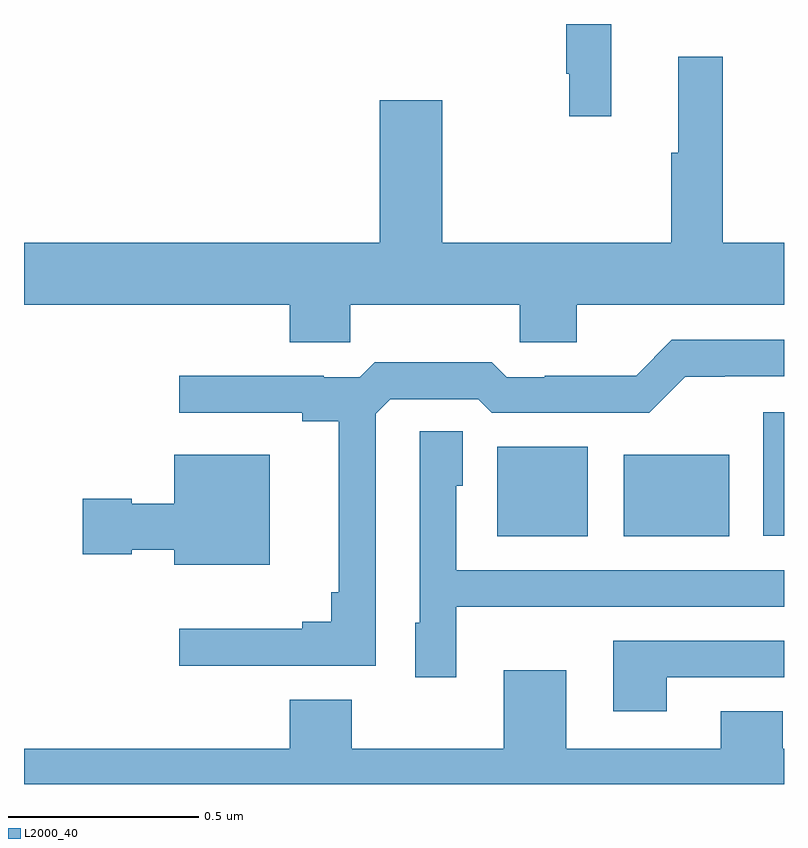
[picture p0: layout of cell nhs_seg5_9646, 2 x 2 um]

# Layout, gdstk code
import gdstk
lib = gdstk.Library(unit=1e-6, precision=1e-09)
def R(c, l, rs):  # rectangles x0, y0, x1, y1
    for r in rs: c.add(gdstk.rectangle(r[:2], r[2:], *l))
def P(c, l, *ps):  # polygons
    for p in ps: c.add(gdstk.Polygon(p, *l))
L2000_40 = (2000, 40)

nhs_seg5_9646 = lib.new_cell('nhs_seg5_9646')
R(nhs_seg5_9646, L2000_40, [(237.245,889.451,237.484,889.687), (237.578,889.451,237.856,889.666), (237.945,889.452,238,889.777)])
P(nhs_seg5_9646, L2000_40, [(237.545,890.799),(237.427,890.799),(237.427,890.668),(237.435,890.668),(237.435,890.556),(237.545,890.556)],
  [(236.859,890.06),(237.304,890.06),(237.304,889.962),(237.454,889.962),(237.454,890.06),(238,890.06),(238,890.224),(237.839,890.224),(237.839,890.713),(237.722,890.713),(237.722,890.46),(237.703,890.46),(237.703,890.224),(237.1,890.224),(237.1,890.599),(236.936,890.599),(236.936,890.224),(236,890.224),(236,890.06),(236.699,890.06),(236.699,889.962),(236.859,889.962)],
  [(236.925,889.773),(236.964,889.812),(237.195,889.812),(237.231,889.776),(237.645,889.776),(237.74,889.871),(237.844,889.871),(237.844,889.872),(238,889.872),(238,889.968),(237.705,889.968),(237.611,889.874),(237.37,889.874),(237.37,889.869),(237.27,889.869),(237.231,889.909),(236.923,889.909),(236.883,889.869),(236.789,889.869),(236.789,889.874),(236.409,889.874),(236.409,889.776),(236.732,889.776),(236.732,889.754),(236.828,889.754),(236.828,889.303),(236.809,889.303),(236.809,889.226),(236.732,889.226),(236.732,889.207),(236.409,889.207),(236.409,889.11),(236.925,889.11)],
  [(237.138,889.265),(237.455,889.265),(237.455,889.266),(238,889.266),(238,889.362),(237.138,889.362),(237.138,889.584),(237.154,889.584),(237.154,889.727),(237.042,889.727),(237.042,889.224),(237.029,889.224),(237.029,889.08),(237.138,889.08)],
  [(236.647,889.666),(236.396,889.666),(236.396,889.537),(236.283,889.537),(236.283,889.55),(236.154,889.55),(236.154,889.403),(236.283,889.403),(236.283,889.415),(236.396,889.415),(236.396,889.376),(236.647,889.376)],
  [(237.691,889.08),(238,889.08),(238,889.176),(237.551,889.176),(237.551,888.99),(237.691,888.99)],
  [(238,888.892),(237.997,888.892),(237.997,888.991),(237.833,888.991),(237.833,888.892),(237.427,888.892),(237.427,889.099),(237.263,889.099),(237.263,888.892),(236.863,888.892),(236.863,889.021),(236.699,889.021),(236.699,888.892),(236,888.892),(236,888.799),(238,888.799)])

lib.write_gds('nhs_seg5_9646.gds')
